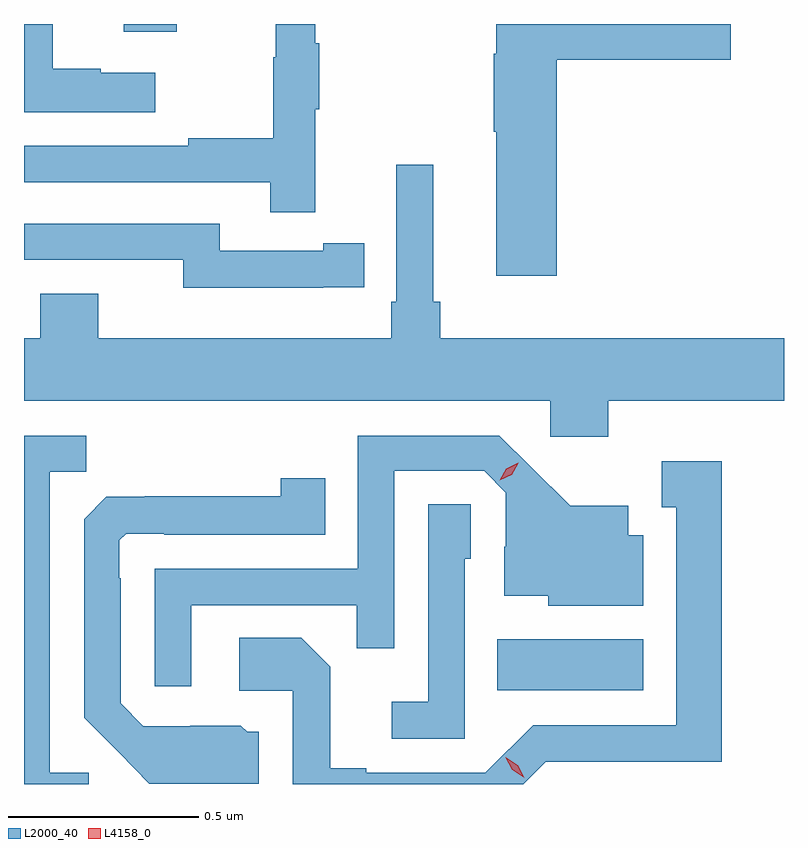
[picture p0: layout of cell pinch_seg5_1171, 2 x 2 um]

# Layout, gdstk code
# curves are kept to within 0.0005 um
import gdstk
lib = gdstk.Library(unit=1e-6, precision=1e-09)
def R(c, l, rs):  # rectangles x0, y0, x1, y1
    for r in rs: c.add(gdstk.rectangle(r[:2], r[2:], *l))
def P(c, l, *ps):  # polygons
    for p in ps: c.add(gdstk.Polygon(p, *l))
L2000_40 = (2000, 40)
L4158_0 = (4158, 0)

pinch_seg5_1171 = lib.new_cell('pinch_seg5_1171')
R(pinch_seg5_1171, L2000_40, [(779.836,841.346,780.22,841.48), (778.853,843.078,778.993,843.099)])
P(pinch_seg5_1171, L2000_40, [(779.993,843.005),(780.451,843.005),(780.451,843.099),(779.834,843.099),(779.834,843.021),(779.827,843.021),(779.827,842.815),(779.834,842.815),(779.834,842.436),(779.993,842.436)],
  [(778.936,842.971),(778.793,842.971),(778.793,842.981),(778.666,842.981),(778.666,843.099),(778.591,843.099),(778.591,842.867),(778.936,842.867)],
  [(779.357,842.875),(779.368,842.875),(779.368,843.049),(779.357,843.049),(779.357,843.099),(779.254,843.099),(779.254,843.012),(779.247,843.012),(779.247,842.798),(779.023,842.798),(779.023,842.778),(778.591,842.778),(778.591,842.682),(779.239,842.682),(779.239,842.604),(779.357,842.604)],
  [(780.128,842.108),(780.591,842.108),(780.591,842.272),(779.687,842.272),(779.687,842.368),(779.668,842.368),(779.668,842.728),(779.571,842.728),(779.571,842.368),(779.558,842.368),(779.558,842.272),(778.786,842.272),(778.786,842.389),(778.634,842.389),(778.634,842.272),(778.591,842.272),(778.591,842.108),(779.976,842.108),(779.976,842.013),(780.128,842.013)],
  [(779.378,842.406),(779.486,842.406),(779.486,842.522),(779.378,842.522),(779.378,842.502),(779.106,842.502),(779.106,842.574),(778.591,842.574),(778.591,842.478),(779.01,842.478),(779.01,842.405),(779.378,842.405)],
  [(779.031,841.569),(779.467,841.569),(779.467,841.456),(779.565,841.456),(779.565,841.923),(779.802,841.923),(779.859,841.866),(779.859,841.724),(779.855,841.724),(779.855,841.595),(779.97,841.595),(779.97,841.568),(780.22,841.568),(780.22,841.753),(780.181,841.753),(780.181,841.831),(780.029,841.831),(779.842,842.016),(779.469,842.016),(779.469,841.665),(778.935,841.665),(778.935,841.356),(779.031,841.356)],
  [(778.762,841.128),(778.659,841.128),(778.659,841.921),(778.755,841.921),(778.755,842.016),(778.591,842.016),(778.591,841.099),(778.762,841.099)],
  [(779.964,841.158),(780.186,841.158),(780.186,841.157),(780.427,841.157),(780.427,841.948),(780.269,841.948),(780.269,841.827),(780.308,841.827),(780.308,841.254),(779.931,841.254),(779.805,841.128),(779.491,841.128),(779.491,841.141),(779.397,841.141),(779.397,841.408),(779.321,841.484),(779.157,841.484),(779.157,841.344),(779.298,841.344),(779.298,841.099),(779.905,841.099)],
  [(779.209,841.236),(779.178,841.236),(779.162,841.252),(779.028,841.252),(779.028,841.251),(778.905,841.251),(778.845,841.311),(778.845,841.64),(778.842,841.64),(778.842,841.74),(778.86,841.758),(778.96,841.758),(778.96,841.755),(779.384,841.755),(779.384,841.903),(779.266,841.903),(779.266,841.856),(778.909,841.856),(778.909,841.855),(778.808,841.855),(778.749,841.796),(778.749,841.274),(778.921,841.1),(779.209,841.1)],
  [(779.751,841.692),(779.766,841.692),(779.766,841.835),(779.655,841.835),(779.655,841.315),(779.559,841.315),(779.559,841.218),(779.751,841.218)])
P(pinch_seg5_1171, L4158_0, [(779.907,841.116),(779.876,841.136),(779.859,841.168),(779.859,841.169),(779.859,841.169),(779.89,841.149),(779.907,841.116),(779.907,841.116)],
  [(779.843,841.898),(779.843,841.898),(779.86,841.928),(779.891,841.944),(779.891,841.944),(779.891,841.943),(779.874,841.913),(779.843,841.898)])

lib.write_gds('pinch_seg5_1171.gds')
